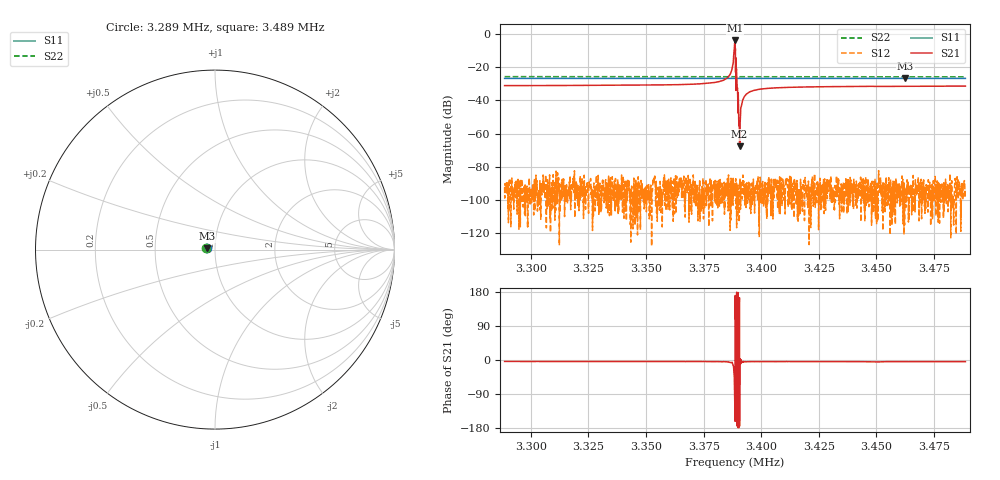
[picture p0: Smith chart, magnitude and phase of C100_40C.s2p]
# Hz S dB R 50.000
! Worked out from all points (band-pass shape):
!   6401 points, 3.289 MHz to 3.489 MHz, reference 50 ohm
!   highest |S21| = -3.80 dB at 3.389 MHz (marker M1); lowest = -67.8 dB at 3.391 MHz (marker M2)
!   |S21| within 3 dB of the highest: 3.388379 MHz to 3.388632 MHz (252.7 Hz wide, 0.00746 % of centre)
!   lowest |S11| = -26.7 dB at 3.462 MHz (marker M3), VSWR 1.10, Z = 45.6 + j0.588 ohm
!   |S11| at or under -10 dB: start of sweep to end of sweep
!   |S22| runs from -25.8 to -25.6 dB; largest |S21 - S12| = 0.65
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3288594  -26.72 170.4  -31.08 -3.9  -92.60 -108.1  -25.66 168.7
3321938  -26.72 170.7  -30.98 -3.9  -96.49 46.5  -25.67 169.0
3355282  -26.72 171.1  -30.67 -4.1  -93.77 28.3  -25.68 169.3
3382438  -26.72 171.3  -28.39 -4.3  -100.16 151.6  -25.69 169.5
3385938  -26.72 171.3  -25.37 -5.3  -92.44 -12.9  -25.70 169.6
3386906  -26.72 171.4  -23.01 -6.4  -88.98 -57.4  -25.70 169.6
3387438  -26.72 171.4  -19.95 -7.6  -91.36 -14.7  -25.70 169.6
3387813  -26.72 171.4  -17.61 -14.5  -87.07 119.9  -25.69 169.6
3388594  -26.72 171.4  -3.80 -138.6  -90.02 -90.2  -25.68 169.5
3389125  -26.72 171.4  -21.48 117.8  -105.73 64.3  -25.70 169.6
3389719  -26.72 171.4  -34.11 -157.4  -105.80 6.1  -25.70 169.6
3389969  -26.73 171.4  -36.79 -176.3  -98.66 112.4  -25.70 169.6
3390594  -26.73 171.4  -67.77 -128.1  -90.89 23.4  -25.70 169.6
3391156  -26.72 171.4  -44.44 -5.4  -93.76 151.7  -25.70 169.6
3391969  -26.72 171.4  -39.79 -5.9  -88.62 -58.3  -25.70 169.6
3392750  -26.72 171.4  -37.55 -4.6  -96.50 150.9  -25.70 169.7
3396000  -26.72 171.4  -34.34 -4.3  -101.48 22.3  -25.70 169.7
3403594  -26.73 171.5  -32.67 -4.2  -87.87 73.2  -25.71 169.7
3421938  -26.72 171.7  -31.83 -4.2  -94.36 -90.4  -25.71 169.9
3455282  -26.73 172.0  -31.56 -4.4  -88.71 32.6  -25.73 170.2
3462500  -26.74 172.0  -31.50 -4.4  -95.61 70.7  -25.74 170.3
3488594  -26.73 172.3  -31.35 -4.4  -98.55 -92.9  -25.75 170.5
